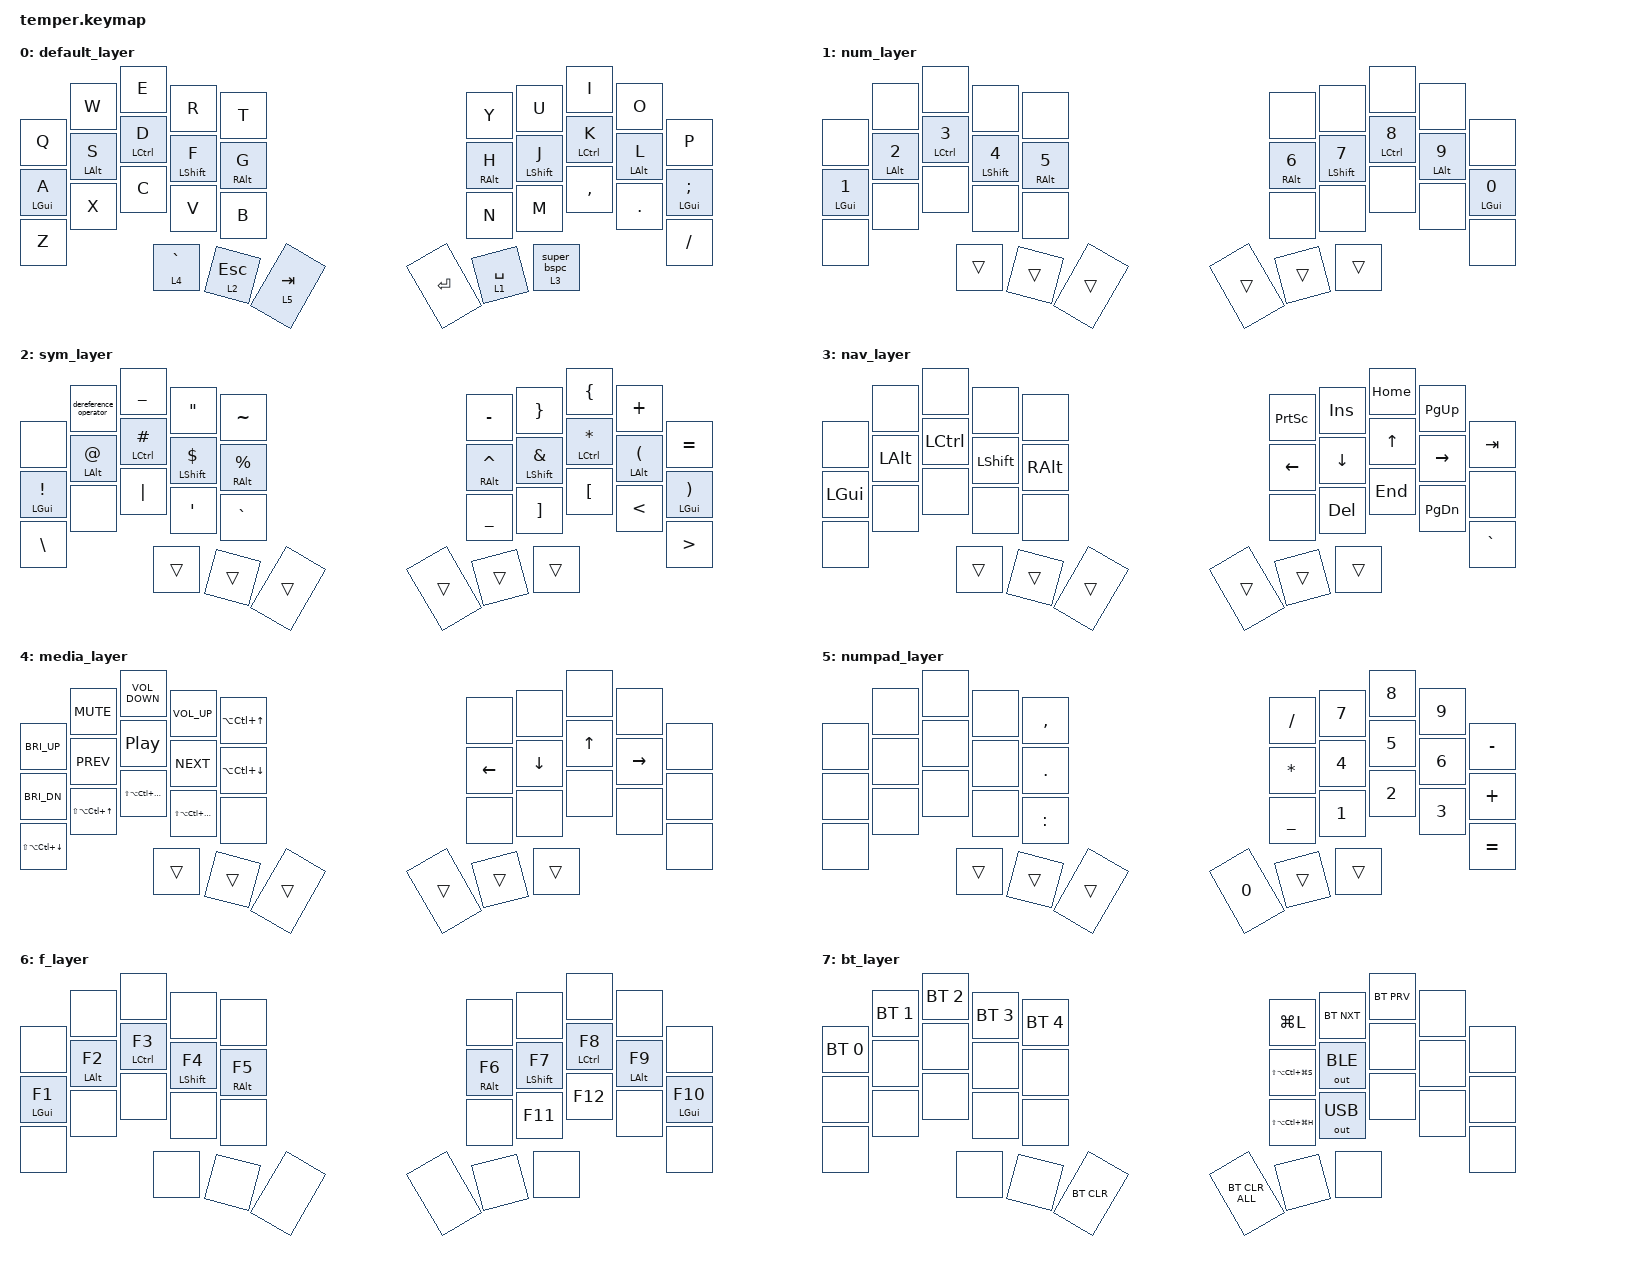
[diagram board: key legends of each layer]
/*
 * Copyright (c) 2020 The ZMK Contributors
 *
 * SPDX-License-Identifier: MIT
 */

#include <behaviors.dtsi>
#include <dt-bindings/zmk/bt.h>
#include <dt-bindings/zmk/keys.h>
#include <dt-bindings/zmk/outputs.h>

#define DEFAULT 0
#define NUM 1
#define NAV 2
#define FUN 3
#define BLE 4

&lt { flavor = "balanced"; };

/ {
    conditional_layers {
        compatible = "zmk,conditional-layers";

        f_cond {
            if-layers = <1 2>;
            then-layer = <6>;
        };

        bt_cond {
            if-layers = <3 4>;
            then-layer = <7>;
        };
    };

    behaviors {
        lhm: left_homerow_mods {
            compatible = "zmk,behavior-hold-tap";
            label = "HOMEROW_MODS_LEFT";
            #binding-cells = <2>;
            flavor = "balanced";
            tapping-term-ms = <400>;
            hold-trigger-key-positions = <5 6 7 8 9 15 16 17 18 19 25 26 27 28 29 30 31 32 33 34 35>;
            hold-trigger-on-release;
            bindings = <&kp>, <&kp>;
        };

        rhm: right_homerow_mods {
            compatible = "zmk,behavior-hold-tap";
            label = "HOMEROW_MODS_RIGHT";
            #binding-cells = <2>;
            flavor = "balanced";
            tapping-term-ms = <400>;
            hold-trigger-key-positions = <0 1 2 3 4 10 11 12 13 14 20 21 22 23 24 30 31 32>;
            hold-trigger-on-release;
            bindings = <&kp>, <&kp>;
        };

        bspc_del: backspace_delete {
            compatible = "zmk,behavior-mod-morph";
            label = "BACKSPACE_DELETE";
            #binding-cells = <0>;
            bindings = <&kp BACKSPACE>, <&kp DELETE>;

            mods = <(MOD_LSFT|MOD_RSFT)>;
            keep-mods = <(MOD_RSFT)>;
        };

        super_bspc: super_backspace {
            compatible = "zmk,behavior-mod-morph";
            label = "SUPER_BACKSPACE";
            #binding-cells = <0>;
            bindings = <&kp BACKSPACE>, <&kp LC(BACKSPACE)>;

            mods = <(MOD_LSFT|MOD_RSFT)>;
        };

        smart_shft: smart_shift {
            compatible = "zmk,behavior-mod-morph";
            label = "SMART_SHIFT";
            #binding-cells = <0>;
            bindings = <&kp LSHFT>, <&caps_word>;

            mods = <(MOD_LSFT)>;
        };

        lt_super_bspc: lt_super_bspc {
            compatible = "zmk,behavior-hold-tap";
            label = "LT_SUPER_BSPC";
            bindings = <&mo>, <&super_bspc>;

            #binding-cells = <2>;
            tapping-term-ms = <200>;
            flavor = "balanced";
            quick-tap-ms = <190>;
        };
    };

    combos {
        compatible = "zmk,combos";

        caps_combo {
            bindings = <&caps_word>;
            key-positions = <13 16>;
        };

        ctrl_c {
            bindings = <&kp LC(C)>;
            key-positions = <21 22>;
        };

        ctrl_x {
            bindings = <&kp LC(X)>;
            key-positions = <20 21>;
        };

        ctrl_v {
            bindings = <&kp LC(V)>;
            key-positions = <22 23>;
        };

        lgui {
            bindings = <&kp LGUI>;
            key-positions = <10 19>;
        };
    };

    macros {
        dereference_operator: dereference_operator {
            compatible = "zmk,behavior-macro";
            #binding-cells = <0>;
            bindings = <&kp MINUS &kp GT>;
            label = "DEREFERENCE_OPERATOR";
        };
    };

    keymap {
        compatible = "zmk,keymap";

        default_layer {
            bindings = <
&kp Q        &kp W        &kp E         &kp R         &kp T        &kp Y        &kp U         &kp I               &kp O        &kp P
&lhm LGUI A  &lhm LALT S  &lhm LCTRL D  &lhm LSHFT F  &lhm RALT G  &rhm RALT H  &rhm LSHFT J  &rhm LCTRL K        &rhm LALT L  &rhm LGUI SEMI
&kp Z        &kp X        &kp C         &kp V         &kp B        &kp N        &kp M         &kp COMMA           &kp DOT      &kp FSLH
                          &lt 4 GRAVE   &lt 2 ESC     &lt 5 TAB    &kp RET      &lt 1 SPACE   &lt_super_bspc 3 0
            >;
        };

        num_layer {
            bindings = <
&none         &none         &none          &none          &none         &none         &none          &none          &none         &none
&lhm LGUI N1  &lhm LALT N2  &lhm LCTRL N3  &lhm LSHFT N4  &lhm RALT N5  &rhm RALT N6  &rhm LSHFT N7  &rhm LCTRL N8  &rhm LALT N9  &rhm LGUI N0
&none         &none         &none          &none          &none         &none         &none          &none          &none         &none
                            &trans         &trans         &trans        &trans        &trans         &trans
            >;
        };

        sym_layer {
            bindings = <
&none           &dereference_operator  &kp UNDER        &kp DQT          &kp TILDE        &kp MINUS        &kp RBRC         &kp LBRC          &kp PLUS        &kp EQUAL
&lhm LGUI EXCL  &lhm LALT AT           &lhm LCTRL HASH  &lhm LSHFT DLLR  &lhm RALT PRCNT  &rhm RALT CARET  &rhm LSHFT AMPS  &rhm LCTRL ASTRK  &rhm LALT LPAR  &rhm LGUI RPAR
&kp BSLH        &none                  &kp PIPE         &kp SQT          &kp GRAVE        &kp UNDER        &kp RBKT         &kp LBKT          &kp LT          &kp GT
                                       &trans           &trans           &trans           &trans           &trans           &trans
            >;
        };

        nav_layer {
            bindings = <
&none     &none     &none      &none      &none     &kp PSCRN  &kp INSERT  &kp HOME  &kp PG_UP  &kp TAB
&kp LGUI  &kp LALT  &kp LCTRL  &kp LSHFT  &kp RALT  &kp LEFT   &kp DOWN    &kp UP    &kp RIGHT  &none
&none     &none     &none      &none      &none     &none      &kp DEL     &kp END   &kp PG_DN  &kp GRAVE
                    &trans     &trans     &trans    &trans     &trans      &trans
            >;
        };

        media_layer {
            bindings = <
&kp C_BRI_UP          &kp C_MUTE          &kp C_VOLUME_DOWN         &kp C_VOLUME_UP         &kp LA(LC(UP))    &none     &none     &none   &none      &none
&kp C_BRI_DN          &kp C_PREV          &kp C_PLAY_PAUSE          &kp C_NEXT              &kp LA(LC(DOWN))  &kp LEFT  &kp DOWN  &kp UP  &kp RIGHT  &none
&kp LS(LA(LC(DOWN)))  &kp LS(LA(LC(UP)))  &kp LS(LA(LC(LG(DOWN))))  &kp LS(LA(LC(LG(UP))))  &none             &none     &none     &none   &none      &none
                                          &trans                    &trans                  &trans            &trans    &trans    &trans
            >;
        };

        numpad_layer {
            bindings = <
&none  &none  &none   &none   &kp COMMA  &kp FSLH   &kp N7  &kp N8  &kp N9  &kp MINUS
&none  &none  &none   &none   &kp DOT    &kp ASTRK  &kp N4  &kp N5  &kp N6  &kp PLUS
&none  &none  &none   &none   &kp COLON  &kp UNDER  &kp N1  &kp N2  &kp N3  &kp EQUAL
              &trans  &trans  &trans     &kp N0     &trans  &trans
            >;
        };

        f_layer {
            bindings = <
&none         &none         &none          &none          &none         &none         &none          &none          &none         &none
&lhm LGUI F1  &lhm LALT F2  &lhm LCTRL F3  &lhm LSHFT F4  &lhm RALT F5  &rhm RALT F6  &rhm LSHFT F7  &rhm LCTRL F8  &rhm LALT F9  &rhm LGUI F10
&none         &none         &none          &none          &none         &none         &kp F11        &kp F12        &none         &none
                            &none          &none          &none         &none         &none          &none
            >;
        };

        bt_layer {
            bindings = <
&bt BT_SEL 0  &bt BT_SEL 1  &bt BT_SEL 2  &bt BT_SEL 3  &bt BT_SEL 4  &kp LG(L)              &bt BT_NXT    &bt BT_PRV  &none  &none
&none         &none         &none         &none         &none         &kp LS(LA(LC(LG(S))))  &out OUT_BLE  &none       &none  &none
&none         &none         &none         &none         &none         &kp LS(LA(LC(LG(H))))  &out OUT_USB  &none       &none  &none
                            &none         &none         &bt BT_CLR    &bt BT_CLR_ALL         &none         &none
            >;
        };
    };
};
